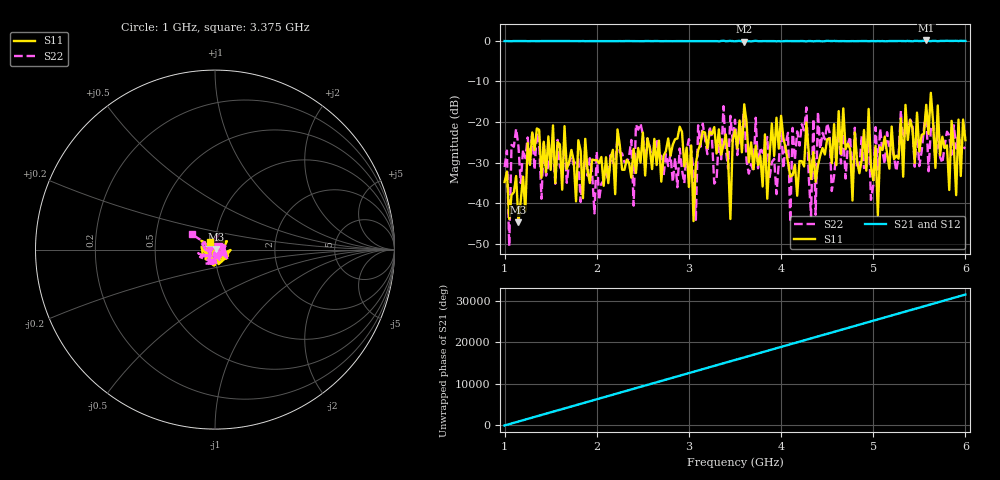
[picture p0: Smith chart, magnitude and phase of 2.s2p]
!Keysight Technologies,E5080A,MY55100170,A.11.70.00
!Date: Tuesday, August 20, 2019 22:40:56
!Correction: S11(Full 2 Port(1,2))
!S21(Full 2 Port(1,2))
!S12(Full 2 Port(1,2))
!S22(Full 2 Port(1,2))
!S2P File: Measurements: S11, S21, S12, S22:
# Hz S  dB  R 50
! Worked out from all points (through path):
!   201 points, 1 GHz to 6 GHz, reference 50 ohm
!   highest |S21| = 0.09 dB at 5.575 GHz (marker M1); lowest = -0.2 dB at 3.6 GHz (marker M2)
!   lowest |S11| = -44.7 dB at 1.15 GHz (marker M3), VSWR 1.01, Z = 50.5 + j0.356 ohm
!   |S11| at or under -10 dB: start of sweep to end of sweep
!   |S22| runs from -50.6 to -16.1 dB; largest |S21 - S12| = 0.0094
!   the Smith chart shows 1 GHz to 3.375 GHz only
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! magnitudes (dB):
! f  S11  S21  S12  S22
! 1 GHz  -34.8  0.0  0.0  -31.1
! 1.05 GHz  -43.8  -0.1  -0.1  -50.6
! 1.15 GHz  -44.7  -0.1  -0.1  -25.9
! 1.35 GHz  -21.6  -0.1  -0.1  -22.6
! 1.85 GHz  -38.8  -0.1  -0.1  -33.2
! 2.675 GHz  -24.6  -0.1  -0.1  -27.8
! 3.075 GHz  -30.3  -0.1  -0.1  -44.1
! 3.1 GHz  -27.0  -0.1  -0.1  -20.8
! 3.45 GHz  -43.9  0.0  0.0  -18.5
! 3.5 GHz  -21.9  -0.1  -0.1  -19.4
! 3.6 GHz  -15.6  -0.2  -0.2  -16.6
! 4.075 GHz  -29.9  -0.1  -0.1  -22.7
! 4.1 GHz  -33.5  -0.1  -0.1  -44.7
! 4.125 GHz  -33.1  -0.1  -0.1  -21.5
! 4.275 GHz  -20.1  -0.2  -0.2  -16.4
! 4.325 GHz  -34.0  -0.1  -0.1  -43.2
! 4.35 GHz  -27.4  -0.1  -0.1  -19.2
! 4.375 GHz  -34.7  -0.1  -0.1  -42.9
! 4.4 GHz  -30.7  0.0  -0.1  -17.5
! 5.175 GHz  -31.5  0.0  0.0  -26.0
! 5.575 GHz  -15.8  0.1  0.1  -17.6
! 6 GHz  -24.5  0.0  0.0  -26.5
